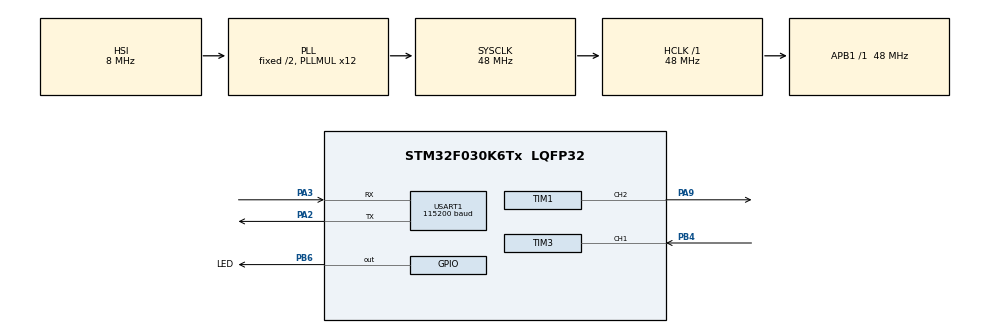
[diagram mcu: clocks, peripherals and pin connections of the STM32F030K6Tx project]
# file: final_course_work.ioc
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Mcu.Family=STM32F0
Mcu.Name=STM32F030K6Tx
Mcu.Package=LQFP32
NVIC.TIM1_CC_IRQn=true\:0\:0\:false\:false\:true\:true\:true
NVIC.TIM3_IRQn=true\:0\:0\:false\:false\:true\:true\:true
PA13.Mode=Serial_Wire
PA13.Signal=SYS_SWDIO
PA14.Mode=Serial_Wire
PA14.Signal=SYS_SWCLK
PA2.Mode=Asynchronous
PA2.Signal=USART1_TX
PA3.Mode=Asynchronous
PA3.Signal=USART1_RX
PA9.Signal=S_TIM1_CH2
PB4.Signal=S_TIM3_CH1
PB6.GPIO_Label=LED
PB6.Signal=GPIO_Output
ProjectManager.HeapSize=0x200
ProjectManager.StackSize=0x400
ProjectManager.TargetToolchain=STM32CubeIDE
RCC.AHBFreq_Value=48000000
RCC.APB1Freq_Value=48000000
RCC.APB1TimFreq_Value=48000000
RCC.HCLKFreq_Value=48000000
RCC.PLLMUL=RCC_PLL_MUL12
RCC.SYSCLKFreq_VALUE=48000000
RCC.SYSCLKSource=RCC_SYSCLKSOURCE_PLLCLK
SH.S_TIM1_CH2.0=TIM1_CH2,PWM Generation2 CH2
SH.S_TIM3_CH1.0=TIM3_CH1,Input_Capture1_from_TI1
TIM1.Channel-PWM\ Generation2\ CH2=TIM_CHANNEL_2
TIM1.Period=0
TIM1.Prescaler=12 - 1
TIM16.Prescaler=12 - 1
TIM3.Channel-Input_Capture1_from_TI1=TIM_CHANNEL_1
TIM3.Channel-Input_Capture2_from_TI1_63=TIM_CHANNEL_2
TIM3.ICPolarity_CH2=TIM_INPUTCHANNELPOLARITY_FALLING
TIM3.Prescaler=12 -1
USART1.BaudRate=115200
USART1.VirtualMode-Asynchronous=VM_ASYNC
VP_TIM16_VS_ClockSourceINT.Mode=Enable_Timer
VP_TIM1_VS_ClockSourceINT.Mode=Internal
VP_TIM3_VS_ClockSourceINT.Mode=Internal
VP_TIM3_VS_indirect_ch1.Mode=Input_Capture2_from_TI1_63
board=custom

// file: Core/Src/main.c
/* USER CODE BEGIN Header */
/**
 ******************************************************************************
 * @file           : main.c
 * @brief          : Main program body
 ******************************************************************************
 * @attention
 *
 * Copyright (c) 2022 STMicroelectronics.
 * All rights reserved.
 *
 * This software is licensed under terms that can be found in the LICENSE file
 * in the root directory of this software component.
 * If no LICENSE file comes with this software, it is provided AS-IS.
 *
 ******************************************************************************
 */
/* USER CODE END Header */
#include "main.h"

/* USER CODE BEGIN Includes */
#include <stdio.h>
#include <string.h>
#include <stdlib.h>

/* USER CODE END Includes */

/* USER CODE BEGIN PTD */
#define T 15000
#define COUNTER 5000
#define SYN 22
#define ACK 6

/* USER CODE END PTD */

TIM_HandleTypeDef htim1;
TIM_HandleTypeDef htim3;
TIM_HandleTypeDef htim16;

UART_HandleTypeDef huart1;

void SystemClock_Config(void);
static void MX_GPIO_Init(void);
static void MX_TIM16_Init(void);
static void MX_USART1_UART_Init(void);
static void MX_TIM1_Init(void);
static void MX_TIM3_Init(void);

/* USER CODE BEGIN 0 */

/* ---------------to do list---------------
 * check working of algorithm on high speed +++++
 * check all kind of signals
 * 		- Long IDEL 3.3V +++
 * 		- Long IDEL 0V +++++
 * 		- rising from 0V without information (turning PWM transiver on) ++++
 * 		- falling down to zero (turning off transiver) ++++
 *		- etc
 * make code better &??
 * create byte LED ++++++++
 * "connected ready for use" without PWM after turning on +++????
 * have some problems with connect and disconnect
 * triple handshake(((
 * \r\n +++++++++++
 *
 * no byte LED/ LED just mark data transmission
 * ---------------------------------------
 */

// This function provides delay (in 1 / Timer_freq nanoseconds)
// delay must be < 65535
void delay(int delay) {
	if (delay > 0xFFFF)
		delay = 0xFFFF;
	(&htim16)->Instance->CNT = 0;
	while ((&htim16)->Instance->CNT < delay)
		;
}

/*
 * function use to print const strings in UART2
 * make print more coder friendly)
 *
 * @brief  pointer for string
 */
void output(char *string) {
	HAL_UART_Transmit(&huart1, (uint8_t*) string, strlen(string), 1000);
}

//<-------------------- RECIVER CODE ----------------->

// use in CaptureCallback, PeriodElepsed and other functions
struct Condition {
	int bit[8];
	int bit_count;
	int callback_count;
	int connect;
} condition;

void delay(int delay);
void output(char *string);

/* main function of device
 *
 * catch changing state of PWM channel
 * check period of signal to avoid interferences (should write else)
 * write rising times in bit array
 */
void HAL_TIM_IC_CaptureCallback(TIM_HandleTypeDef *htim) {
	if (htim == &htim3) {
		int falling_edge = 0;
		int rising_edge = 0;
		condition.callback_count += 1;

		falling_edge = HAL_TIM_ReadCapturedValue(&htim3, TIM_CHANNEL_2);
		rising_edge = HAL_TIM_ReadCapturedValue(&htim3, TIM_CHANNEL_1);
		if (condition.callback_count % 2 != 0
				&& condition.callback_count != 1) {
			int period = rising_edge + falling_edge;
			if (period < T * 1.1 && period > T * 0.9) { // 10% gap for period
				condition.bit[condition.bit_count] = rising_edge;
				HAL_GPIO_WritePin(LED_GPIO_Port, LED_Pin, GPIO_PIN_SET);
			}
			condition.bit_count += 1;
		}
		TIM3->CNT = 0;
		TIM16->CNT = 0;
	}
}

void display_pwm_information(int *bit);
//void start_finish_connection(void);

/*
 * function catch IDEL signal
 * IDEL signal then there is one period without capture callback
 * Use for reading last bit in signal
 *
 * AND display letter to user by display_pwm_information()
 *
 * 3 types of IDEL
 *
 * IDEL after catching 8 bit
 * function display letter
 *
 * IDEL after less 8 bit
 * function display error message
 *
 * IDEL without catching any bit
 * Timer run function every period with or without information
 * function do nothing in this case
 */
void HAL_TIM_PeriodElapsedCallback(TIM_HandleTypeDef *htim) {
	if (htim == &htim3) { // reading last bite of byte
		HAL_GPIO_WritePin(LED_GPIO_Port, LED_Pin, GPIO_PIN_RESET);
		if (condition.bit_count == 7 && condition.callback_count > 1) {
			condition.bit[condition.bit_count] = HAL_TIM_ReadCapturedValue(
					&htim3, TIM_CHANNEL_1);

			display_pwm_information(condition.bit);

			condition.bit_count = 0;
			condition.callback_count = 0;
//			condition.connect = 1;
		} else if (condition.callback_count > 1 && condition.bit_count < 7) { // when caught less then 8 bit before IDEL give message about lost byte
			output("#LOST BYTE#");
			if (condition.callback_count % 2 != 0) {
//				start_finish_connection();
				condition.bit_count = 0;
				condition.callback_count = 0;
				condition.connect = 0;
				output(" # Disconnect\r\n");
			} else {
				condition.bit_count = 0;
				condition.callback_count = 0;
				HAL_GPIO_WritePin(LED_GPIO_Port, LED_Pin, GPIO_PIN_RESET);
			}
		} else if (condition.callback_count == 1) { // turning on/off transiver state of channel change 0V -> 3.3V / 3.3V -> 0V
//			start_finish_connection();
			if (condition.connect == 1) {
				output(" # Disconnection\r\n");
				condition.connect = 0;
			}
			condition.bit_count = 0;
			condition.callback_count = 0;
		} else
			// TIM run function every period ending
			return;
	}
}

/* function check on/off channel state and show user information
 * about connection or disconnection transiver
 */
//void start_finish_connection(void) {
//	condition.bit_count = 0;
//	condition.callback_count = 0;
//	if (condition.connect == 0) { // transiver connected
//		output("\r\nConnected. Ready for recive.\r\n");
//		condition.connect = 1;
//	} else { // transiver disconnected
//		output("\r\nDisconected. Bye.\r\n");
//		condition.connect = 0;
//	}
//	delay(T);
//}
char rises_to_char(int*);
void connect(void);

/* function display information from pwm signal to user with UART
 *
 * receives int array contain 8 rising times
 * convert rising times to char and display it
 *
 */
void display_pwm_information(int *bit) {
	char ch = rises_to_char(bit);
	if (ch == '\r')
		output("\n");
	if (ch == SYN) {
		output(" - Start connection...\r\n");
		connect();
		return;
	} else if (ch == ACK && condition.connect == -1) {
		output(" - Device connected successfully\r\n");
		condition.connect = 1;
		return;
	}
	HAL_UART_Transmit(&huart1, (uint8_t*) &ch, 1, 1000);
}

/* function return char from 8 rising times array
 * bit - pointer to 8 rising times array contain 8 bits
 * If rising time more then 50% period then this is a 1, else 0
 */
char rises_to_char(int *bit) {
	char c = 0;
	for (int i = 0, rank = 128; i < 8 && rank > 0; i++, rank /= 2) {
		if (bit[i] > T * 0.5)
			c += rank;
	}
	return c;
}

// <-------------------- END RECIVER CODE ----------->

//<------------------- TRANCIVER CODE ---------------------->
void togglepin(uint8_t value);
void delay(int delay);
void send_value_pwm(char ch);

void connect(void) {

//	turning off receiver timers
	HAL_TIM_IC_Stop_IT(&htim3, TIM_CHANNEL_1);
	HAL_TIM_IC_Stop_IT(&htim3, TIM_CHANNEL_2);
	delay(10 * T);
//	turning on tranceiver timers
	TIM1->ARR = COUNTER;
	TIM1->CCR2 = COUNTER + 1;
	HAL_TIM_PWM_Start(&htim1, TIM_CHANNEL_2);

	delay(10 * T);
	send_value_pwm(SYN);
	send_value_pwm(ACK);
//	delay(10 * T);
//	turning off tranceiver timers
	HAL_TIM_PWM_Stop(&htim1, TIM_CHANNEL_2);
//	turning on receiver timers
	HAL_TIM_IC_Start_IT(&htim3, TIM_CHANNEL_1);
	HAL_TIM_IC_Start_IT(&htim3, TIM_CHANNEL_2);

//	delay(10 * T);
	output(" - Wait\r\n");
	condition.connect = -1;
}

void send_value_pwm(char ch) {
	for (char div = 128; div > 0; div /= 2) {
		if (ch >= div) {    // 1
			ch -= div;
			togglepin(1);
//			output("1");
		} else {
			togglepin(0);
//			output("0");
		}
	}
	delay(T);
}

void togglepin(uint8_t value) {
//	turning off pin
	TIM1->CCR2 = 0;
	TIM1->CNT = COUNTER;
	if (value == 1) {
		delay(T * 0.8);
		//	turning on pin
		TIM1->CCR2 = COUNTER + 1;
		TIM1->CNT = COUNTER;
		delay(T * 0.2);
	} else if (value == 0) {
		delay(T * 0.2);
		//	turning on pin
		TIM1->CCR2 = COUNTER + 1;
		TIM1->CNT = COUNTER;
		delay(T * 0.8);
	} else
		return;
}

//<------------------- END TRANCIVER CODE ------------------>

/* USER CODE END 0 */

int main(void) {

	/* MCU Configuration--------------------------------------------------------*/

	/* Reset of all peripherals, Initializes the Flash interface and the Systick. */
	HAL_Init();

	/* Configure the system clock */
	SystemClock_Config();

	/* Initialize all configured peripherals */
	MX_GPIO_Init();
	MX_TIM16_Init();
	MX_USART1_UART_Init();
	MX_TIM1_Init();
	MX_TIM3_Init();
	/* USER CODE BEGIN 2 */

//	timer for read values
	TIM3->ARR = T;
	HAL_TIM_IC_Start_IT(&htim3, TIM_CHANNEL_1);
	HAL_TIM_IC_Start_IT(&htim3, TIM_CHANNEL_2);

// start TIM3 again to catch IDEL after empty period
	HAL_TIM_Base_Start_IT(&htim3);

	TIM3->ARR = T;

//	HAL_TIM_PWM_Start_IT(&htim1, TIM_CHANNEL_2);
//	TIM1->ARR = T;

// Timer for calculating delays
	HAL_TIM_Base_Start_IT(&htim16);

	/* USER CODE END 2 */

	/* Infinite loop */
	/* USER CODE BEGIN WHILE */

	output("Still work\r\n");
	condition.callback_count = 0;
	condition.bit_count = 0;
	condition.connect = 0;

	while (1) {

		// Nothing in while ))))

		/* USER CODE END WHILE */

	}
}

void SystemClock_Config(void) {
	RCC_OscInitTypeDef RCC_OscInitStruct = { 0 };
	RCC_ClkInitTypeDef RCC_ClkInitStruct = { 0 };
	RCC_PeriphCLKInitTypeDef PeriphClkInit = { 0 };

	/** Initializes the RCC Oscillators according to the specified parameters
	 * in the RCC_OscInitTypeDef structure.
	 */
	RCC_OscInitStruct.OscillatorType = RCC_OSCILLATORTYPE_HSI;
	RCC_OscInitStruct.HSIState = RCC_HSI_ON;
	RCC_OscInitStruct.HSICalibrationValue = RCC_HSICALIBRATION_DEFAULT;
	RCC_OscInitStruct.PLL.PLLState = RCC_PLL_ON;
	RCC_OscInitStruct.PLL.PLLSource = RCC_PLLSOURCE_HSI;
	RCC_OscInitStruct.PLL.PLLMUL = RCC_PLL_MUL12;
	RCC_OscInitStruct.PLL.PREDIV = RCC_PREDIV_DIV1;
	if (HAL_RCC_OscConfig(&RCC_OscInitStruct) != HAL_OK) {
		Error_Handler();
	}
	/** Initializes the CPU, AHB and APB buses clocks
	 */
	RCC_ClkInitStruct.ClockType = RCC_CLOCKTYPE_HCLK | RCC_CLOCKTYPE_SYSCLK
			| RCC_CLOCKTYPE_PCLK1;
	RCC_ClkInitStruct.SYSCLKSource = RCC_SYSCLKSOURCE_PLLCLK;
	RCC_ClkInitStruct.AHBCLKDivider = RCC_SYSCLK_DIV1;
	RCC_ClkInitStruct.APB1CLKDivider = RCC_HCLK_DIV1;

	if (HAL_RCC_ClockConfig(&RCC_ClkInitStruct, FLASH_LATENCY_1) != HAL_OK) {
		Error_Handler();
	}
	PeriphClkInit.PeriphClockSelection = RCC_PERIPHCLK_USART1;
	PeriphClkInit.Usart1ClockSelection = RCC_USART1CLKSOURCE_PCLK1;
	if (HAL_RCCEx_PeriphCLKConfig(&PeriphClkInit) != HAL_OK) {
		Error_Handler();
	}
}

static void MX_TIM1_Init(void) {

	TIM_ClockConfigTypeDef sClockSourceConfig = { 0 };
	TIM_MasterConfigTypeDef sMasterConfig = { 0 };
	TIM_OC_InitTypeDef sConfigOC = { 0 };
	TIM_BreakDeadTimeConfigTypeDef sBreakDeadTimeConfig = { 0 };

	htim1.Instance = TIM1;
	htim1.Init.Prescaler = 12 - 1;
	htim1.Init.CounterMode = TIM_COUNTERMODE_UP;
	htim1.Init.Period = 0;
	htim1.Init.ClockDivision = TIM_CLOCKDIVISION_DIV1;
	htim1.Init.RepetitionCounter = 0;
	htim1.Init.AutoReloadPreload = TIM_AUTORELOAD_PRELOAD_DISABLE;
	if (HAL_TIM_Base_Init(&htim1) != HAL_OK) {
		Error_Handler();
	}
	sClockSourceConfig.ClockSource = TIM_CLOCKSOURCE_INTERNAL;
	if (HAL_TIM_ConfigClockSource(&htim1, &sClockSourceConfig) != HAL_OK) {
		Error_Handler();
	}
	if (HAL_TIM_PWM_Init(&htim1) != HAL_OK) {
		Error_Handler();
	}
	sMasterConfig.MasterOutputTrigger = TIM_TRGO_RESET;
	sMasterConfig.MasterSlaveMode = TIM_MASTERSLAVEMODE_DISABLE;
	if (HAL_TIMEx_MasterConfigSynchronization(&htim1, &sMasterConfig)
			!= HAL_OK) {
		Error_Handler();
	}
	sConfigOC.OCMode = TIM_OCMODE_PWM1;
	sConfigOC.Pulse = 0;
	sConfigOC.OCPolarity = TIM_OCPOLARITY_HIGH;
	sConfigOC.OCNPolarity = TIM_OCNPOLARITY_HIGH;
	sConfigOC.OCFastMode = TIM_OCFAST_DISABLE;
	sConfigOC.OCIdleState = TIM_OCIDLESTATE_RESET;
	sConfigOC.OCNIdleState = TIM_OCNIDLESTATE_RESET;
	if (HAL_TIM_PWM_ConfigChannel(&htim1, &sConfigOC, TIM_CHANNEL_2)
			!= HAL_OK) {
		Error_Handler();
	}
	sBreakDeadTimeConfig.OffStateRunMode = TIM_OSSR_DISABLE;
	sBreakDeadTimeConfig.OffStateIDLEMode = TIM_OSSI_DISABLE;
	sBreakDeadTimeConfig.LockLevel = TIM_LOCKLEVEL_OFF;
	sBreakDeadTimeConfig.DeadTime = 0;
	sBreakDeadTimeConfig.BreakState = TIM_BREAK_DISABLE;
	sBreakDeadTimeConfig.BreakPolarity = TIM_BREAKPOLARITY_HIGH;
	sBreakDeadTimeConfig.AutomaticOutput = TIM_AUTOMATICOUTPUT_DISABLE;
	if (HAL_TIMEx_ConfigBreakDeadTime(&htim1, &sBreakDeadTimeConfig)
			!= HAL_OK) {
		Error_Handler();
	}
	HAL_TIM_MspPostInit(&htim1);

}

static void MX_TIM3_Init(void) {

	TIM_ClockConfigTypeDef sClockSourceConfig = { 0 };
	TIM_MasterConfigTypeDef sMasterConfig = { 0 };
	TIM_IC_InitTypeDef sConfigIC = { 0 };

	htim3.Instance = TIM3;
	htim3.Init.Prescaler = 12 - 1;
	htim3.Init.CounterMode = TIM_COUNTERMODE_UP;
	htim3.Init.Period = 65535;
	htim3.Init.ClockDivision = TIM_CLOCKDIVISION_DIV1;
	htim3.Init.AutoReloadPreload = TIM_AUTORELOAD_PRELOAD_DISABLE;
	if (HAL_TIM_Base_Init(&htim3) != HAL_OK) {
		Error_Handler();
	}
	sClockSourceConfig.ClockSource = TIM_CLOCKSOURCE_INTERNAL;
	if (HAL_TIM_ConfigClockSource(&htim3, &sClockSourceConfig) != HAL_OK) {
		Error_Handler();
	}
	if (HAL_TIM_IC_Init(&htim3) != HAL_OK) {
		Error_Handler();
	}
	sMasterConfig.MasterOutputTrigger = TIM_TRGO_RESET;
	sMasterConfig.MasterSlaveMode = TIM_MASTERSLAVEMODE_DISABLE;
	if (HAL_TIMEx_MasterConfigSynchronization(&htim3, &sMasterConfig)
			!= HAL_OK) {
		Error_Handler();
	}
	sConfigIC.ICPolarity = TIM_INPUTCHANNELPOLARITY_RISING;
	sConfigIC.ICSelection = TIM_ICSELECTION_DIRECTTI;
	sConfigIC.ICPrescaler = TIM_ICPSC_DIV1;
	sConfigIC.ICFilter = 0;
	if (HAL_TIM_IC_ConfigChannel(&htim3, &sConfigIC, TIM_CHANNEL_1) != HAL_OK) {
		Error_Handler();
	}
	sConfigIC.ICPolarity = TIM_INPUTCHANNELPOLARITY_FALLING;
	sConfigIC.ICSelection = TIM_ICSELECTION_INDIRECTTI;
	if (HAL_TIM_IC_ConfigChannel(&htim3, &sConfigIC, TIM_CHANNEL_2) != HAL_OK) {
		Error_Handler();
	}

}

static void MX_TIM16_Init(void) {

	htim16.Instance = TIM16;
	htim16.Init.Prescaler = 12 - 1;
	htim16.Init.CounterMode = TIM_COUNTERMODE_UP;
	htim16.Init.Period = 65535;
	htim16.Init.ClockDivision = TIM_CLOCKDIVISION_DIV1;
	htim16.Init.RepetitionCounter = 0;
	htim16.Init.AutoReloadPreload = TIM_AUTORELOAD_PRELOAD_DISABLE;
	if (HAL_TIM_Base_Init(&htim16) != HAL_OK) {
		Error_Handler();
	}

}

static void MX_USART1_UART_Init(void) {

	huart1.Instance = USART1;
	huart1.Init.BaudRate = 115200;
	huart1.Init.WordLength = UART_WORDLENGTH_8B;
	huart1.Init.StopBits = UART_STOPBITS_1;
	huart1.Init.Parity = UART_PARITY_NONE;
	huart1.Init.Mode = UART_MODE_TX_RX;
	huart1.Init.HwFlowCtl = UART_HWCONTROL_NONE;
	huart1.Init.OverSampling = UART_OVERSAMPLING_16;
	huart1.Init.OneBitSampling = UART_ONE_BIT_SAMPLE_DISABLE;
	huart1.AdvancedInit.AdvFeatureInit = UART_ADVFEATURE_NO_INIT;
	if (HAL_UART_Init(&huart1) != HAL_OK) {
		Error_Handler();
	}

}

static void MX_GPIO_Init(void) {
	GPIO_InitTypeDef GPIO_InitStruct = { 0 };

	/* GPIO Ports Clock Enable */
	__HAL_RCC_GPIOA_CLK_ENABLE();
	__HAL_RCC_GPIOB_CLK_ENABLE();

	/*Configure GPIO pin Output Level */
	HAL_GPIO_WritePin(LED_GPIO_Port, LED_Pin, GPIO_PIN_RESET);

	/*Configure GPIO pin : LED_Pin */
	GPIO_InitStruct.Pin = LED_Pin;
	GPIO_InitStruct.Mode = GPIO_MODE_OUTPUT_PP;
	GPIO_InitStruct.Pull = GPIO_NOPULL;
	GPIO_InitStruct.Speed = GPIO_SPEED_FREQ_LOW;
	HAL_GPIO_Init(LED_GPIO_Port, &GPIO_InitStruct);

}

void Error_Handler(void) {
	__disable_irq();
	while (1) {
	}
}
